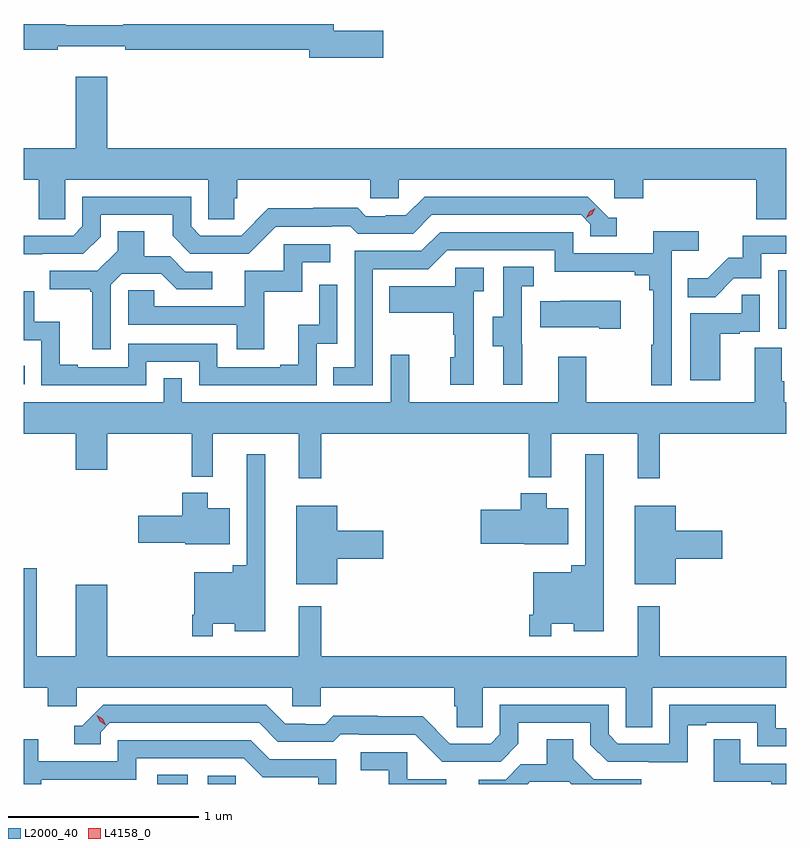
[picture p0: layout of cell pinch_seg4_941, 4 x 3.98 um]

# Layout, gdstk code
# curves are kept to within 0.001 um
import gdstk
lib = gdstk.Library(unit=1e-6, precision=1e-09)
def R(c, l, rs):  # rectangles x0, y0, x1, y1
    for r in rs: c.add(gdstk.rectangle(r[:2], r[2:], *l))
def P(c, l, *ps):  # polygons
    for p in ps: c.add(gdstk.Polygon(p, *l))
L2000_40 = (2000, 40)
L4158_0 = (4158, 0)

pinch_seg4_941 = lib.new_cell('pinch_seg4_941')
R(pinch_seg4_941, L2000_40, [(884.715,767.011,884.874,767.06), (884.979,767.011,885.126,767.055), (884.014,769.107,884.021,769.204), (887.972,769.398,888.014,769.705)])
P(pinch_seg4_941, L2000_40, [(885.901,770.96),(885.64,770.96),(885.64,770.996),(884.536,770.996),(884.536,770.989),(884.236,770.989),(884.236,770.996),(884.014,770.996),(884.014,770.86),(884.192,770.86),(884.192,770.879),(884.548,770.879),(884.548,770.86),(885.512,770.86),(885.512,770.818),(885.901,770.818)],
  [(884.232,770.18),(884.982,770.18),(884.982,769.972),(885.119,769.972),(885.119,770.082),(885.134,770.082),(885.134,770.18),(885.831,770.18),(885.831,770.082),(885.981,770.082),(885.981,770.18),(887.112,770.18),(887.112,770.082),(887.264,770.082),(887.264,770.18),(887.855,770.18),(887.855,769.972),(888.014,769.972),(888.014,770.344),(884.452,770.344),(884.452,770.719),(884.288,770.719),(884.288,770.344),(884.014,770.344),(884.014,770.18),(884.093,770.18),(884.093,769.972),(884.232,769.972)],
  [(884.112,769.791),(884.328,769.791),(884.418,769.881),(884.418,769.995),(884.795,769.995),(884.795,769.885),(884.889,769.791),(885.195,769.791),(885.336,769.932),(885.629,769.932),(885.629,769.935),(885.728,769.935),(885.767,769.896),(886.056,769.896),(886.155,769.995),(886.938,769.995),(886.986,769.947),(886.986,769.884),(887.125,769.884),(887.125,769.98),(887.082,769.98),(886.971,770.091),(886.118,770.091),(886.019,769.992),(885.912,769.992),(885.912,769.989),(885.809,769.989),(885.767,770.032),(885.534,770.032),(885.534,770.029),(885.298,770.029),(885.156,769.887),(884.94,769.887),(884.892,769.935),(884.892,770.091),(884.322,770.091),(884.322,769.935),(884.274,769.887),(884.014,769.887),(884.014,769.79)],
  [(884.472,769.629),(884.529,769.686),(884.735,769.686),(884.816,769.605),(885.004,769.605),(885.004,769.698),(884.862,769.698),(884.782,769.778),(884.647,769.778),(884.647,769.91),(884.507,769.91),(884.507,769.808),(884.4,769.701),(884.151,769.701),(884.151,769.604),(884.364,769.604),(884.364,769.593),(884.375,769.593),(884.375,769.29),(884.472,769.29)],
  [(885.846,769.71),(886.137,769.71),(886.236,769.809),(886.8,769.809),(886.8,769.697),(887.219,769.697),(887.219,769.678),(887.296,769.678),(887.296,769.601),(887.315,769.601),(887.315,769.313),(887.304,769.313),(887.304,769.101),(887.412,769.101),(887.412,769.808),(887.554,769.808),(887.554,769.91),(887.315,769.91),(887.315,769.794),(886.896,769.794),(886.896,769.905),(886.199,769.905),(886.1,769.806),(885.75,769.806),(885.75,769.197),(885.637,769.197),(885.637,769.101),(885.846,769.101)],
  [(887.739,769.662),(887.883,769.662),(887.883,769.791),(888.014,769.791),(888.014,769.887),(887.785,769.887),(887.785,769.77),(887.708,769.77),(887.601,769.663),(887.497,769.663),(887.497,769.564),(887.641,769.564)],
  [(885.275,769.593),(885.474,769.593),(885.474,769.746),(885.622,769.746),(885.622,769.842),(885.378,769.842),(885.378,769.701),(885.173,769.701),(885.173,769.515),(884.699,769.515),(884.699,769.599),(884.562,769.599),(884.562,769.419),(885.131,769.419),(885.131,769.29),(885.275,769.29)],
  [(886.628,769.317),(886.626,769.317),(886.626,769.621),(886.69,769.621),(886.69,769.724),(886.53,769.724),(886.53,769.461),(886.475,769.461),(886.475,769.306),(886.529,769.306),(886.529,769.104),(886.628,769.104)],
  [(886.374,769.595),(886.426,769.595),(886.426,769.719),(886.278,769.719),(886.278,769.621),(885.931,769.621),(885.931,769.481),(886.266,769.481),(886.266,769.367),(886.276,769.367),(886.276,769.248),(886.25,769.248),(886.25,769.104),(886.374,769.104)],
  [(884.658,769.224),(884.934,769.224),(884.934,769.101),(885.552,769.101),(885.552,769.32),(885.66,769.32),(885.66,769.63),(885.564,769.63),(885.564,769.418),(885.455,769.418),(885.455,769.21),(885.359,769.21),(885.359,769.197),(885.03,769.197),(885.03,769.32),(884.562,769.32),(884.562,769.197),(884.299,769.197),(884.299,769.21),(884.203,769.21),(884.203,769.435),(884.07,769.435),(884.07,769.596),(884.014,769.596),(884.014,769.337),(884.106,769.337),(884.106,769.101),(884.658,769.101)],
  [(887.668,769.371),(887.768,769.371),(887.768,769.383),(887.874,769.383),(887.874,769.577),(887.779,769.577),(887.779,769.479),(887.51,769.479),(887.51,769.128),(887.668,769.128)],
  [(887.146,769.546),(886.831,769.546),(886.831,769.543),(886.723,769.543),(886.723,769.406),(887.033,769.406),(887.033,769.399),(887.146,769.399)],
  [(885.575,768.848),(886.663,768.848),(886.663,768.62),(886.781,768.62),(886.781,768.848),(887.234,768.848),(887.234,768.615),(887.351,768.615),(887.351,768.848),(888.014,768.848),(888.014,769.012),(888.002,769.012),(888.002,769.124),(887.989,769.124),(887.989,769.298),(887.849,769.298),(887.849,769.012),(886.965,769.012),(886.965,769.252),(886.817,769.252),(886.817,769.012),(886.037,769.012),(886.037,769.261),(885.939,769.261),(885.939,769.012),(884.844,769.012),(884.844,769.139),(884.748,769.139),(884.748,769.012),(884.014,769.012),(884.014,768.848),(884.288,768.848),(884.288,768.66),(884.452,768.66),(884.452,768.848),(884.895,768.848),(884.895,768.623),(885.005,768.623),(885.005,768.848),(885.458,768.848),(885.458,768.615),(885.575,768.615)],
  [(886.782,767.852),(886.898,767.852),(886.898,767.813),(887.056,767.813),(887.056,768.739),(886.959,768.739),(886.959,768.157),(886.886,768.157),(886.886,768.121),(886.686,768.121),(886.686,767.899),(886.666,767.899),(886.666,767.787),(886.782,767.787)],
  [(885.006,767.852),(885.122,767.852),(885.122,767.813),(885.28,767.813),(885.28,768.739),(885.183,768.739),(885.183,768.157),(885.11,768.157),(885.11,768.121),(884.91,768.121),(884.91,767.899),(884.898,767.899),(884.898,767.787),(885.006,767.787)],
  [(885.094,768.457),(884.98,768.457),(884.98,768.538),(884.846,768.538),(884.846,768.417),(884.616,768.417),(884.616,768.275),(884.862,768.275),(884.862,768.269),(885.094,768.269)],
  [(886.87,768.457),(886.756,768.457),(886.756,768.535),(886.622,768.535),(886.622,768.45),(886.41,768.45),(886.41,768.272),(886.638,768.272),(886.638,768.269),(886.87,768.269)],
  [(885.658,768.191),(885.901,768.191),(885.901,768.338),(885.658,768.338),(885.658,768.469),(885.443,768.469),(885.443,768.059),(885.658,768.059)],
  [(887.434,768.191),(887.677,768.191),(887.677,768.338),(887.434,768.338),(887.434,768.469),(887.219,768.469),(887.219,768.059),(887.434,768.059)],
  [(886.422,767.516),(887.172,767.516),(887.172,767.308),(887.311,767.308),(887.311,767.516),(888.014,767.516),(888.014,767.68),(887.351,767.68),(887.351,767.944),(887.234,767.944),(887.234,767.68),(885.575,767.68),(885.575,767.944),(885.458,767.944),(885.458,767.68),(884.452,767.68),(884.452,768.055),(884.288,768.055),(884.288,767.68),(884.083,767.68),(884.083,768.142),(884.014,768.142),(884.014,767.516),(884.141,767.516),(884.141,767.418),(884.292,767.418),(884.292,767.516),(885.423,767.516),(885.423,767.418),(885.573,767.418),(885.573,767.516),(886.271,767.516),(886.271,767.418),(886.285,767.418),(886.285,767.308),(886.422,767.308)],
  [(887.497,767.319),(887.593,767.319),(887.593,767.331),(887.862,767.331),(887.862,767.208),(888.014,767.208),(888.014,767.304),(887.958,767.304),(887.958,767.427),(887.4,767.427),(887.4,767.223),(887.13,767.223),(887.082,767.271),(887.082,767.427),(886.512,767.427),(886.512,767.271),(886.464,767.223),(886.248,767.223),(886.106,767.365),(885.87,767.365),(885.87,767.368),(885.637,767.368),(885.595,767.325),(885.492,767.325),(885.492,767.328),(885.385,767.328),(885.286,767.427),(884.433,767.427),(884.322,767.316),(884.279,767.316),(884.279,767.22),(884.418,767.22),(884.418,767.283),(884.466,767.331),(885.249,767.331),(885.348,767.232),(885.637,767.232),(885.676,767.271),(885.775,767.271),(885.775,767.268),(886.068,767.268),(886.209,767.127),(886.515,767.127),(886.609,767.221),(886.609,767.331),(886.986,767.331),(886.986,767.217),(887.076,767.127),(887.497,767.126)],
  [(886.669,767.022),(886.875,767.022),(886.886,767.011),(887.254,767.011),(887.254,767.037),(887.004,767.037),(886.897,767.144),(886.897,767.246),(886.757,767.246),(886.757,767.114),(886.622,767.114),(886.542,767.034),(886.401,767.034),(886.401,767.011),(886.658,767.011)],
  [(884.108,767.033),(884.604,767.033),(884.604,767.145),(885.168,767.145),(885.267,767.046),(885.558,767.046),(885.558,767.011),(885.654,767.011),(885.654,767.142),(885.304,767.142),(885.205,767.241),(884.508,767.241),(884.508,767.13),(884.09,767.13),(884.09,767.246),(884.014,767.246),(884.014,767.011),(884.108,767.011)],
  [(888.014,767.118),(887.773,767.118),(887.773,767.246),(887.633,767.246),(887.633,767.022),(887.934,767.022),(887.934,767.011),(888.014,767.011)],
  [(886.231,767.037),(886.026,767.037),(886.026,767.178),(885.783,767.178),(885.783,767.082),(885.93,767.082),(885.93,767.011),(886.231,767.011)])
P(pinch_seg4_941, L4158_0, [(886.964,769.98),(886.964,769.98),(886.98,770.012),(887.011,770.031),(887.012,770.031),(887.012,770.031),(886.995,769.998),(886.964,769.98)],
  [(884.444,767.32),(884.414,767.339),(884.398,767.372),(884.398,767.372),(884.398,767.372),(884.429,767.353),(884.445,767.32),(884.445,767.32)])

lib.write_gds('pinch_seg4_941.gds')
